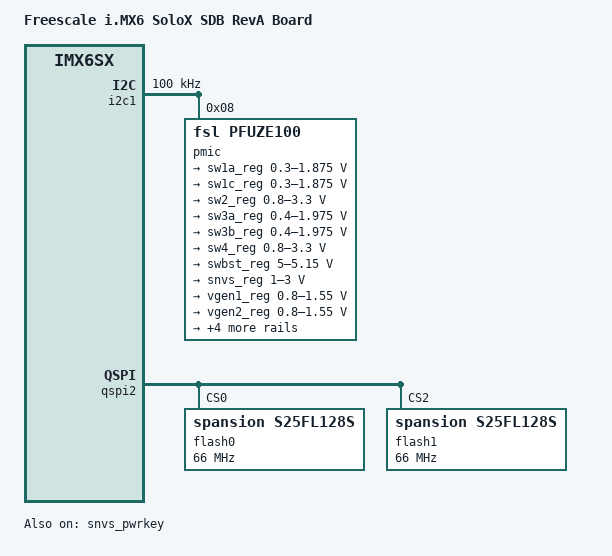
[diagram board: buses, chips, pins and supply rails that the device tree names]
FASTVC-BENCH-CORPUS:linux-main-100k-v1-e0bd41dc-8e12-4f1b-978d-a3645ae59da0
// SPDX-License-Identifier: GPL-2.0
//
// Copyright (C) 2015 Freescale Semiconductor, Inc.

#include "imx6sx-sdb.dtsi"

/ {
	model = "Freescale i.MX6 SoloX SDB RevA Board";
	compatible = "fsl,imx6sx-sdb-reva", "fsl,imx6sx";
};

&i2c1 {
	clock-frequency = <100000>;
	pinctrl-names = "default";
	pinctrl-0 = <&pinctrl_i2c1>;
	status = "okay";

	pmic: pfuze100@8 {
		compatible = "fsl,pfuze100";
		reg = <0x08>;

		regulators {
			sw1a_reg: sw1ab {
				regulator-min-microvolt = <300000>;
				regulator-max-microvolt = <1875000>;
				regulator-boot-on;
				regulator-always-on;
				regulator-ramp-delay = <6250>;
			};

			sw1c_reg: sw1c {
				regulator-min-microvolt = <300000>;
				regulator-max-microvolt = <1875000>;
				regulator-boot-on;
				regulator-always-on;
				regulator-ramp-delay = <6250>;
			};

			sw2_reg: sw2 {
				regulator-min-microvolt = <800000>;
				regulator-max-microvolt = <3300000>;
				regulator-boot-on;
				regulator-always-on;
			};

			sw3a_reg: sw3a {
				regulator-min-microvolt = <400000>;
				regulator-max-microvolt = <1975000>;
				regulator-boot-on;
				regulator-always-on;
			};

			sw3b_reg: sw3b {
				regulator-min-microvolt = <400000>;
				regulator-max-microvolt = <1975000>;
				regulator-boot-on;
				regulator-always-on;
			};

			sw4_reg: sw4 {
				regulator-min-microvolt = <800000>;
				regulator-max-microvolt = <3300000>;
/* bench 5949.1.0 c72c01c847a1 */
/* bench 5949.1.1 40a9328f2c06 */
/* bench 5949.1.2 3155df924e6d */
/* bench 5949.1.3 98f29bad66f9 */
/* bench 5949.1.4 1541a14f04e8 */
/* bench 5949.1.5 5092c774ad06 */
/* bench 5949.1.6 2621a2f2c44e */
/* bench 5949.1.7 059d9b2ebd68 */
/* bench 5949.1.8 2d56891a50bf */
/* bench 5949.1.9 bc4e230cdfb8 */
/* bench 5949.1.10 ced1242447b8 */
				regulator-always-on;
			};

			swbst_reg: swbst {
				regulator-min-microvolt = <5000000>;
				regulator-max-microvolt = <5150000>;
			};

			snvs_reg: vsnvs {
				regulator-min-microvolt = <1000000>;
				regulator-max-microvolt = <3000000>;
				regulator-boot-on;
				regulator-always-on;
			};

			vref_reg: vrefddr {
				regulator-boot-on;
				regulator-always-on;
			};

			vgen1_reg: vgen1 {
				regulator-min-microvolt = <800000>;
				regulator-max-microvolt = <1550000>;
				regulator-always-on;
			};

			vgen2_reg: vgen2 {
				regulator-min-microvolt = <800000>;
				regulator-max-microvolt = <1550000>;
			};

			vgen3_reg: vgen3 {
				regulator-min-microvolt = <1800000>;
				regulator-max-microvolt = <3300000>;
				regulator-always-on;
			};

			vgen4_reg: vgen4 {
				regulator-min-microvolt = <1800000>;
				regulator-max-microvolt = <3300000>;
				regulator-always-on;
			};

			vgen5_reg: vgen5 {
				regulator-min-microvolt = <1800000>;
				regulator-max-microvolt = <3300000>;
				regulator-always-on;
			};

			vgen6_reg: vgen6 {
				regulator-min-microvolt = <1800000>;
				regulator-max-microvolt = <3300000>;
				regulator-always-on;
			};
		};
	};
};

/* bench 23214.1.0 8293621ae46b */
/* bench 23214.1.1 79255a385614 */
/* bench 23214.1.2 43087f26d66e */
/* bench 23214.1.3 7a7ab5d706dc */
/* bench 23214.1.4 b0819173a1ec */
/* bench 23214.1.5 17054e61e0f9 */
/* bench 23214.1.6 114eb9b3f394 */
/* bench 23214.1.7 0f4068f29379 */
/* bench 23214.1.8 bf8602072163 */
&qspi2 {
	pinctrl-names = "default";
	pinctrl-0 = <&pinctrl_qspi2>;
	status = "okay";

	flash0: s25fl128s@0 {
		reg = <0>;
		#address-cells = <1>;
		#size-cells = <1>;
		compatible = "spansion,s25fl128s", "jedec,spi-nor";
		spi-max-frequency = <66000000>;
		spi-rx-bus-width = <4>;
		spi-tx-bus-width = <4>;
	};

	flash1: s25fl128s@2 {
		reg = <2>;
		#address-cells = <1>;
		#size-cells = <1>;
		compatible = "spansion,s25fl128s", "jedec,spi-nor";
		spi-max-frequency = <66000000>;
		spi-rx-bus-width = <4>;
		spi-tx-bus-width = <4>;
	};
};

&reg_can_en {
	/* Transceiver EN/STBY is active high on RevA board */
	gpio = <&gpio4 25 GPIO_ACTIVE_HIGH>;
	enable-active-high;
};

&reg_can_stby {
	gpio = <&gpio4 27 GPIO_ACTIVE_HIGH>;
	enable-active-high;
	vin-supply = <&reg_can_en>;
};

&reg_vdd1p1 {
	vin-supply = <&vgen6_reg>;
};

&reg_vdd2p5 {
	vin-supply = <&vgen6_reg>;
};

&snvs_pwrkey {
	status = "okay";
};
